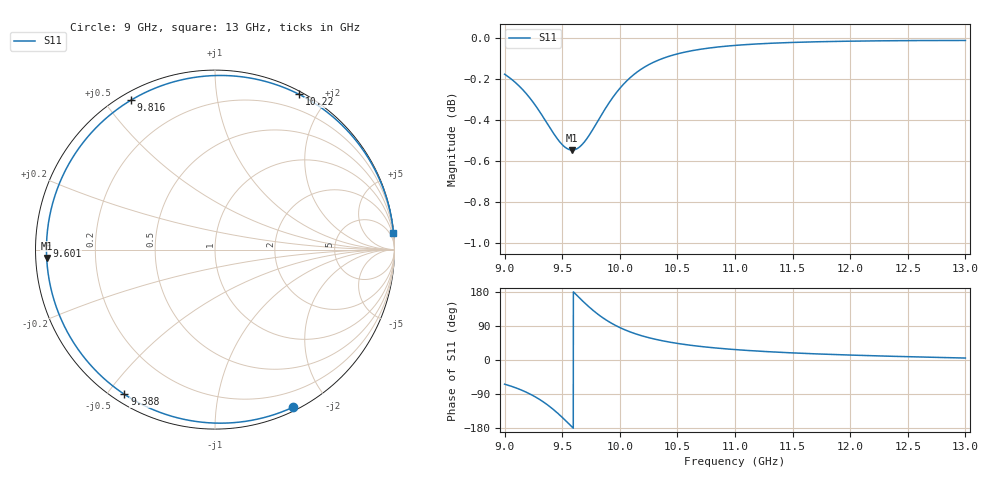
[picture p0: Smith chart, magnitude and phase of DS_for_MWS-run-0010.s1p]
! TOUCHSTONE file generated by CST DESIGN STUDIO
! Date and time: Tue Feb  4 16:40:04 2025
! Project name: C:\Work\MatlabApps\UnitCellOptimizationMatlab\CST\unitcell.cst
! Tree item: Tasks\Sweep1\SPara1\S-Parameters
! Header version: 2024
! Port assignment regex: !\s*Touchstone port\s*([0-9]+)\s*=\s*(CST MWS port|CST DES external port|CST DES block port)\s*(.+)\s* \(\"(.*)\"\)(\s*mode\s*([0-9]+))?.*
! Touchstone port assignment:
! Touchstone port 1 = CST DES external port 1 ("")
# GHz S MA R 50
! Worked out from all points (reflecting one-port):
!   4001 points, 9 GHz to 13 GHz, reference 50 ohm
!   lowest |S11| = -0.5 dB at 9.587 GHz (marker M1), VSWR 31.82, Z = 1.57 - j1.24 ohm
!   phase of S11 starts at -64 deg and turns -291 deg over the sweep
!   S11 on the Smith chart (normalised r, x): 9 GHz: 0.04, -1.61; 9.388 GHz: 0.03, -0.55; 9.601 GHz: 0.03, +0.01; 9.816 GHz: 0.03, +0.58; 10.22 GHz: 0.03, +1.68; 13 GHz: 0, +22
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9  0.9798 -63.8
9.049  0.9775 -68.4
9.118  0.9738 -75.9
9.237  0.9654 -92.4
9.317  0.9583 -106.7
9.388  0.9514 -122.0
9.444  0.9461 -135.9
9.5  0.9419 -151.3
9.545  0.9397 -164.5
9.587  0.9391 -177.2
9.601  0.9391 178.6
9.656  0.941 162.0
9.717  0.9453 144.4
9.766  0.95 131.4
9.816  0.9551 119.4
9.857  0.9594 110.5
9.9  0.9636 102.0
10  0.972 85.6
10.104  0.9786 72.5
10.218  0.9838 61.6
10.348  0.9879 52.1
10.5  0.991 43.8
10.72  0.9937 35.1
11  0.9957 27.5
11.5  0.9973 18.7
12  0.9981 13.0
12.5  0.9984 8.7
13  0.9985 5.2
